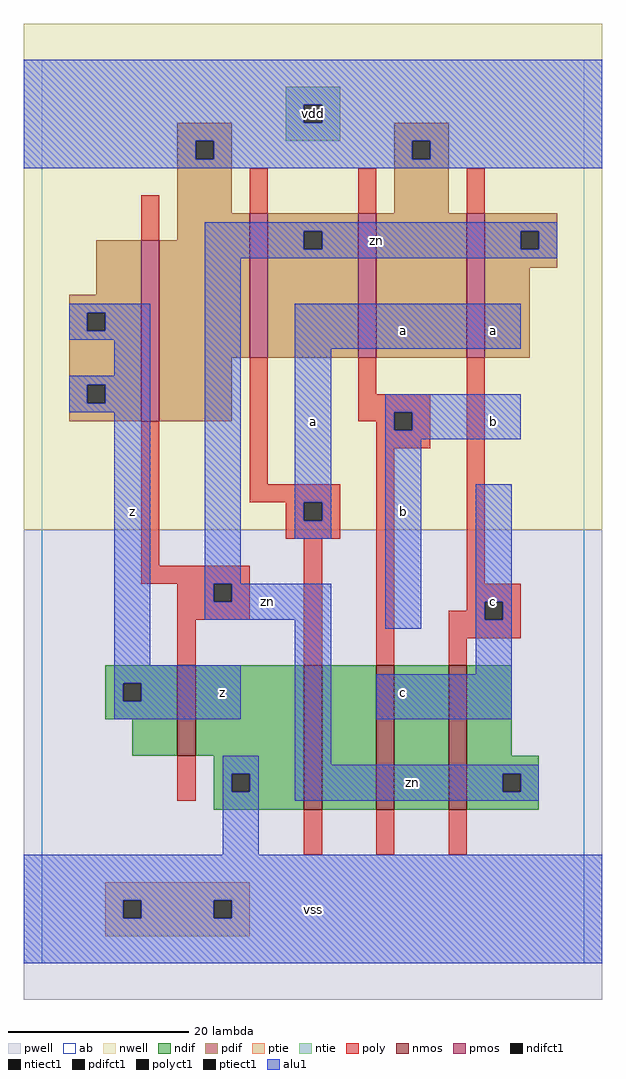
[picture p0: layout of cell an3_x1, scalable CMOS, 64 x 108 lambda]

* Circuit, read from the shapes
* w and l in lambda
.subckt an3_x1 a b c vdd vss z zn
M1 vss zn z vss nfet w=10 l=2
M2 n1 a vss vss nfet w=16 l=2
M3 n2 b n1 vss nfet w=16 l=2
M4 zn c n2 vss nfet w=16 l=2
M5 vdd zn z vdd pfet w=20 l=2
M6 zn a vdd vdd pfet w=16 l=2
M7 vdd b zn vdd pfet w=16 l=2
M8 zn c vdd vdd pfet w=16 l=2
.ends

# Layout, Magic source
magic
tech scmos
<< ab >>
rect 0 0 60 100
<< nwell >>
rect -2 48 62 104
<< pwell >>
rect -2 -4 62 48
<< poly >>
rect 11 80 13 85
rect 23 83 25 88
rect 35 83 37 88
rect 47 83 49 88
rect 11 44 13 60
rect 23 53 25 67
rect 35 63 37 67
rect 35 61 43 63
rect 35 60 39 61
rect 37 59 39 60
rect 41 59 43 61
rect 37 57 43 59
rect 23 51 33 53
rect 27 49 29 51
rect 31 49 33 51
rect 27 47 33 49
rect 11 42 23 44
rect 15 40 19 42
rect 21 40 23 42
rect 15 38 23 40
rect 15 33 17 38
rect 29 33 31 47
rect 37 33 39 57
rect 47 42 49 67
rect 47 40 53 42
rect 47 39 49 40
rect 45 38 49 39
rect 51 38 53 40
rect 45 36 53 38
rect 45 33 47 36
rect 15 18 17 23
rect 29 12 31 17
rect 37 12 39 17
rect 45 12 47 17
<< ndif >>
rect 7 31 15 33
rect 7 29 9 31
rect 11 29 15 31
rect 7 27 15 29
rect 10 23 15 27
rect 17 23 29 33
rect 19 21 29 23
rect 19 19 21 21
rect 23 19 29 21
rect 19 17 29 19
rect 31 17 37 33
rect 39 17 45 33
rect 47 23 52 33
rect 47 21 55 23
rect 47 19 51 21
rect 53 19 55 21
rect 47 17 55 19
<< pdif >>
rect 15 91 21 93
rect 39 91 45 93
rect 15 89 17 91
rect 19 89 21 91
rect 15 83 21 89
rect 39 89 41 91
rect 43 89 45 91
rect 39 83 45 89
rect 15 80 23 83
rect 6 74 11 80
rect 3 72 11 74
rect 3 70 5 72
rect 7 70 11 72
rect 3 64 11 70
rect 3 62 5 64
rect 7 62 11 64
rect 3 60 11 62
rect 13 67 23 80
rect 25 81 35 83
rect 25 79 29 81
rect 31 79 35 81
rect 25 67 35 79
rect 37 67 47 83
rect 49 81 57 83
rect 49 79 53 81
rect 55 79 57 81
rect 49 77 57 79
rect 49 67 54 77
rect 13 60 21 67
<< alu1 >>
rect -2 95 62 100
rect -2 93 29 95
rect 31 93 62 95
rect -2 91 62 93
rect -2 89 17 91
rect 19 89 41 91
rect 43 89 62 91
rect -2 88 62 89
rect 18 81 57 82
rect 18 79 29 81
rect 31 79 53 81
rect 55 79 57 81
rect 18 78 57 79
rect 3 72 12 73
rect 3 70 5 72
rect 7 70 12 72
rect 3 69 12 70
rect 8 65 12 69
rect 3 64 12 65
rect 3 62 5 64
rect 7 62 12 64
rect 3 61 12 62
rect 8 33 12 61
rect 18 42 22 78
rect 28 68 53 73
rect 28 51 32 68
rect 28 49 29 51
rect 31 49 32 51
rect 28 47 32 49
rect 38 61 53 63
rect 38 59 39 61
rect 41 59 53 61
rect 38 58 53 59
rect 18 40 19 42
rect 21 40 32 42
rect 18 38 32 40
rect 8 31 22 33
rect 8 29 9 31
rect 11 29 22 31
rect 8 27 22 29
rect 20 21 24 23
rect 20 19 21 21
rect 23 19 24 21
rect 20 12 24 19
rect 28 22 32 38
rect 38 37 42 58
rect 48 40 52 53
rect 48 38 49 40
rect 51 38 52 40
rect 48 32 52 38
rect 37 27 52 32
rect 28 21 55 22
rect 28 19 51 21
rect 53 19 55 21
rect 28 18 55 19
rect -2 7 62 12
rect -2 5 9 7
rect 11 5 19 7
rect 21 5 62 7
rect -2 0 62 5
<< ptie >>
rect 7 7 23 9
rect 7 5 9 7
rect 11 5 19 7
rect 21 5 23 7
rect 7 3 23 5
<< ntie >>
rect 27 95 33 97
rect 27 93 29 95
rect 31 93 33 95
rect 27 91 33 93
<< nmos >>
rect 15 23 17 33
rect 29 17 31 33
rect 37 17 39 33
rect 45 17 47 33
<< pmos >>
rect 11 60 13 80
rect 23 67 25 83
rect 35 67 37 83
rect 47 67 49 83
<< polyct1 >>
rect 39 59 41 61
rect 29 49 31 51
rect 19 40 21 42
rect 49 38 51 40
<< ndifct1 >>
rect 9 29 11 31
rect 21 19 23 21
rect 51 19 53 21
<< ntiect1 >>
rect 29 93 31 95
<< ptiect1 >>
rect 9 5 11 7
rect 19 5 21 7
<< pdifct1 >>
rect 17 89 19 91
rect 41 89 43 91
rect 5 70 7 72
rect 5 62 7 64
rect 29 79 31 81
rect 53 79 55 81
<< labels >>
rlabel alu1 10 50 10 50 6 z
rlabel alu1 20 30 20 30 6 z
rlabel alu1 30 6 30 6 6 vss
rlabel alu1 25 40 25 40 6 zn
rlabel alu1 40 30 40 30 6 c
rlabel alu1 40 50 40 50 6 b
rlabel alu1 30 60 30 60 6 a
rlabel alu1 40 70 40 70 6 a
rlabel ntiect1 30 94 30 94 6 vdd
rlabel alu1 41 20 41 20 6 zn
rlabel alu1 50 40 50 40 6 c
rlabel alu1 50 70 50 70 6 a
rlabel alu1 50 60 50 60 6 b
rlabel alu1 37 80 37 80 6 zn
<< end >>
